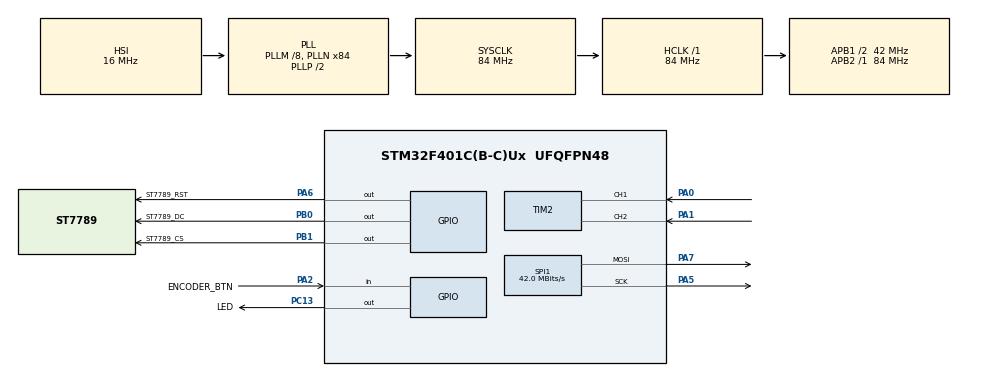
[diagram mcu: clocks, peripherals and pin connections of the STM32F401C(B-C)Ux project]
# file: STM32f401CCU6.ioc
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Dma.Request0=SPI1_TX
Dma.SPI1_TX.0.Direction=DMA_MEMORY_TO_PERIPH
Dma.SPI1_TX.0.FIFOMode=DMA_FIFOMODE_DISABLE
Dma.SPI1_TX.0.Instance=DMA2_Stream3
Dma.SPI1_TX.0.MemDataAlignment=DMA_MDATAALIGN_BYTE
Dma.SPI1_TX.0.MemInc=DMA_MINC_ENABLE
Dma.SPI1_TX.0.Mode=DMA_NORMAL
Dma.SPI1_TX.0.PeriphDataAlignment=DMA_PDATAALIGN_BYTE
Dma.SPI1_TX.0.PeriphInc=DMA_PINC_DISABLE
Dma.SPI1_TX.0.Priority=DMA_PRIORITY_LOW
Mcu.Family=STM32F4
Mcu.Name=STM32F401C(B-C)Ux
Mcu.Package=UFQFPN48
NVIC.DMA2_Stream3_IRQn=true\:0\:0\:false\:false\:true\:false\:true\:true
NVIC.PriorityGroup=NVIC_PRIORITYGROUP_4
NVIC.TIM1_TRG_COM_TIM11_IRQn=true\:15\:0\:false\:false\:true\:false\:true\:true
NVIC.TIM1_UP_TIM10_IRQn=true\:0\:0\:false\:false\:true\:true\:true\:true
NVIC.TimeBase=TIM1_TRG_COM_TIM11_IRQn
NVIC.TimeBaseIP=TIM11
PA0-WKUP.Signal=S_TIM2_CH1_ETR
PA1.Signal=S_TIM2_CH2
PA13.Mode=Serial_Wire
PA13.Signal=SYS_JTMS-SWDIO
PA14.Mode=Serial_Wire
PA14.Signal=SYS_JTCK-SWCLK
PA2.GPIO_Label=ENCODER_BTN
PA2.GPIO_PuPd=GPIO_PULLDOWN
PA2.Signal=GPIO_Input
PA5.Mode=TX_Only_Simplex_Unidirect_Master
PA5.Signal=SPI1_SCK
PA6.GPIO_Label=ST7789_RST
PA6.Signal=GPIO_Output
PA7.Mode=TX_Only_Simplex_Unidirect_Master
PA7.Signal=SPI1_MOSI
PB0.GPIO_Label=ST7789_DC
PB0.Signal=GPIO_Output
PB1.GPIO_Label=ST7789_CS
PB1.Signal=GPIO_Output
PC13-ANTI_TAMP.GPIO_Label=LED
PC13-ANTI_TAMP.GPIO_ModeDefaultOutputPP=GPIO_MODE_OUTPUT_PP
PC13-ANTI_TAMP.GPIO_PuPd=GPIO_NOPULL
PC13-ANTI_TAMP.GPIO_Speed=GPIO_SPEED_FREQ_LOW
PC13-ANTI_TAMP.PinState=GPIO_PIN_RESET
PC13-ANTI_TAMP.Signal=GPIO_Output
PH0\ -\ OSC_IN.Mode=HSE-External-Oscillator
PH0\ -\ OSC_IN.Signal=RCC_OSC_IN
PH1\ -\ OSC_OUT.Mode=HSE-External-Oscillator
PH1\ -\ OSC_OUT.Signal=RCC_OSC_OUT
ProjectManager.HeapSize=0x200
ProjectManager.StackSize=0x400
ProjectManager.TargetToolchain=STM32CubeIDE
RCC.48MHZClocksFreq_Value=42000000
RCC.AHBFreq_Value=84000000
RCC.APB1CLKDivider=RCC_HCLK_DIV2
RCC.APB1Freq_Value=42000000
RCC.APB1TimFreq_Value=84000000
RCC.APB2Freq_Value=84000000
RCC.APB2TimFreq_Value=84000000
RCC.CortexFreq_Value=84000000
RCC.HCLKFreq_Value=84000000
RCC.HSE_VALUE=25000000
RCC.HSI_VALUE=16000000
RCC.LSE_VALUE=32768
RCC.PLLM=8
RCC.PLLN=84
RCC.SYSCLKFreq_VALUE=84000000
RCC.SYSCLKSource=RCC_SYSCLKSOURCE_PLLCLK
RCC.VCOOutputFreq_Value=168000000
SH.S_TIM2_CH1_ETR.0=TIM2_CH1,Encoder_Interface
SH.S_TIM2_CH2.0=TIM2_CH2,Encoder_Interface
SPI1.BaudRatePrescaler=SPI_BAUDRATEPRESCALER_2
SPI1.CLKPhase=SPI_PHASE_2EDGE
SPI1.CLKPolarity=SPI_POLARITY_HIGH
SPI1.CRCCalculation=SPI_CRCCALCULATION_DISABLE
SPI1.CalculateBaudRate=42.0 MBits/s
SPI1.DataSize=SPI_DATASIZE_8BIT
SPI1.Direction=SPI_DIRECTION_2LINES
SPI1.FirstBit=SPI_FIRSTBIT_MSB
SPI1.Mode=SPI_MODE_MASTER
SPI1.VirtualType=VM_MASTER
STMicroelectronics.X-CUBE-ALGOBUILD.1.3.0.LibraryCcDSPOoLibraryJjDSPOoLibrary=true
STMicroelectronics.X-CUBE-DISPLAY.3.0.0.BSP.number=2
STMicroelectronics.X-CUBE-DISPLAY.3.0.0.p_display_cache_lines=4
STMicroelectronics.X-CUBE-DISPLAY.3.0.00.BSP.STBoard=false
STMicroelectronics.X-CUBE-DISPLAY.3.0.00.BSP.api=Unknown
STMicroelectronics.X-CUBE-DISPLAY.3.0.00.BSP.condition=SEMDISPLAYCcBoardOoPartJjLCDJjST7789VJjSPI | SEMDISPLAYCcBoardOoPartJjLCDJjST7789VJjFMC
STMicroelectronics.X-CUBE-DISPLAY.3.0.00.BSP.instance=PB0
STMicroelectronics.X-CUBE-DISPLAY.3.0.00.BSP.ip=GPIO
STMicroelectronics.X-CUBE-DISPLAY.3.0.00.BSP.mode=Output
STMicroelectronics.X-CUBE-DISPLAY.3.0.00.BSP.name=LCD RESET Pin
STMicroelectronics.X-CUBE-DISPLAY.3.0.00.BSP.solution=PB0
STMicroelectronics.X-CUBE-DISPLAY.3.0.01.BSP.STBoard=false
STMicroelectronics.X-CUBE-DISPLAY.3.0.01.BSP.api=Unknown
STMicroelectronics.X-CUBE-DISPLAY.3.0.01.BSP.condition=SEMDISPLAYCcBoardOoPartJjLCDJjST7789VJjSPI
STMicroelectronics.X-CUBE-DISPLAY.3.0.01.BSP.instance=PB1
STMicroelectronics.X-CUBE-DISPLAY.3.0.01.BSP.ip=GPIO
STMicroelectronics.X-CUBE-DISPLAY.3.0.01.BSP.mode=Output
STMicroelectronics.X-CUBE-DISPLAY.3.0.01.BSP.name=LCD CS Pin
STMicroelectronics.X-CUBE-DISPLAY.3.0.01.BSP.solution=PB1
STMicroelectronics.X-CUBE-DISPLAY.3.0.0_IsPackSelfContextualization=true
TIM10.Period=10
TIM10.Prescaler=8400
TIM2.EncoderMode=TIM_ENCODERMODE_TI12
VP_STMicroelectronics.X-CUBE-ALGOBUILD_VS_DSPOoLibraryJjLibrary_1.3.0_1.3.0.Mode=DSPOoLibraryJjLibrary
VP_SYS_VS_tim11.Mode=TIM11
VP_TIM10_VS_ClockSourceINT.Mode=Enable_Timer
board=custom

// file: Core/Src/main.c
/* USER CODE BEGIN Header */
/**
  ******************************************************************************
  * @file           : main.c
  * @brief          : Main program body
  ******************************************************************************
  * @attention
  *
  * Copyright (c) 2024 STMicroelectronics.
  * All rights reserved.
  *
  * This software is licensed under terms that can be found in the LICENSE file
  * in the root directory of this software component.
  * If no LICENSE file comes with this software, it is provided AS-IS.
  *
  ******************************************************************************
  */
/* USER CODE END Header */
#include "main.h"
#include "dma.h"
#include "spi.h"
#include "tim.h"
#include "gpio.h"

/* USER CODE BEGIN Includes */
#include "st7789.h"
#include "SEGGER_RTT.h"
#include "lvgl.h"
#include "lv_port_disp.h"
#include "lv_port_indev.h"
#include "ui.h"
/* USER CODE END Includes */

void SystemClock_Config(void);

int main(void)
{

  /* MCU Configuration--------------------------------------------------------*/

  /* Reset of all peripherals, Initializes the Flash interface and the Systick. */
  HAL_Init();

  /* Configure the system clock */
  SystemClock_Config();

  /* Initialize all configured peripherals */
  MX_GPIO_Init();
  MX_DMA_Init();
  MX_TIM10_Init();
  MX_SPI1_Init();
  MX_TIM2_Init();
  /* USER CODE BEGIN 2 */
  HAL_TIM_Base_Start_IT(&htim10);
  HAL_TIM_Base_Start_IT(&htim2);
  HAL_TIM_Encoder_Start(&htim2, TIM_CHANNEL_ALL);
  ST7789_Init();
  lv_init();
  lv_port_disp_init();
  lv_port_indev_init();
  ui_init();
  /* USER CODE END 2 */

  /* Infinite loop */
  while (1)
  {

    /* USER CODE BEGIN 3 */
    lv_timer_handler();
    HAL_Delay(10);
  }
  /* USER CODE END 3 */
}

void SystemClock_Config(void)
{
  RCC_OscInitTypeDef RCC_OscInitStruct = {0};
  RCC_ClkInitTypeDef RCC_ClkInitStruct = {0};

  /** Configure the main internal regulator output voltage
  */
  __HAL_RCC_PWR_CLK_ENABLE();
  __HAL_PWR_VOLTAGESCALING_CONFIG(PWR_REGULATOR_VOLTAGE_SCALE2);

  /** Initializes the RCC Oscillators according to the specified parameters
  * in the RCC_OscInitTypeDef structure.
  */
  RCC_OscInitStruct.OscillatorType = RCC_OSCILLATORTYPE_HSI;
  RCC_OscInitStruct.HSIState = RCC_HSI_ON;
  RCC_OscInitStruct.HSICalibrationValue = RCC_HSICALIBRATION_DEFAULT;
  RCC_OscInitStruct.PLL.PLLState = RCC_PLL_ON;
  RCC_OscInitStruct.PLL.PLLSource = RCC_PLLSOURCE_HSI;
  RCC_OscInitStruct.PLL.PLLM = 8;
  RCC_OscInitStruct.PLL.PLLN = 84;
  RCC_OscInitStruct.PLL.PLLP = RCC_PLLP_DIV2;
  RCC_OscInitStruct.PLL.PLLQ = 4;
  if (HAL_RCC_OscConfig(&RCC_OscInitStruct) != HAL_OK)
  {
    Error_Handler();
  }

  /** Initializes the CPU, AHB and APB buses clocks
  */
  RCC_ClkInitStruct.ClockType = RCC_CLOCKTYPE_HCLK|RCC_CLOCKTYPE_SYSCLK
                              |RCC_CLOCKTYPE_PCLK1|RCC_CLOCKTYPE_PCLK2;
  RCC_ClkInitStruct.SYSCLKSource = RCC_SYSCLKSOURCE_PLLCLK;
  RCC_ClkInitStruct.AHBCLKDivider = RCC_SYSCLK_DIV1;
  RCC_ClkInitStruct.APB1CLKDivider = RCC_HCLK_DIV2;
  RCC_ClkInitStruct.APB2CLKDivider = RCC_HCLK_DIV1;

  if (HAL_RCC_ClockConfig(&RCC_ClkInitStruct, FLASH_LATENCY_2) != HAL_OK)
  {
    Error_Handler();
  }
}

void HAL_TIM_PeriodElapsedCallback(TIM_HandleTypeDef *htim)
{
  /* USER CODE BEGIN Callback 0 */
  static uint16_t cnt = 0;
  if (htim->Instance == TIM10)
  {
    cnt++;
    if(cnt >= 500)
    {
      cnt = 0;
      HAL_GPIO_TogglePin(LED_GPIO_Port, LED_Pin);
    }

    lv_tick_inc(1);
  }
  /* USER CODE END Callback 0 */
  if (htim->Instance == TIM11) {
    HAL_IncTick();
  }
}

void Error_Handler(void)
{
  __disable_irq();
  while (1)
  {
  }
}
